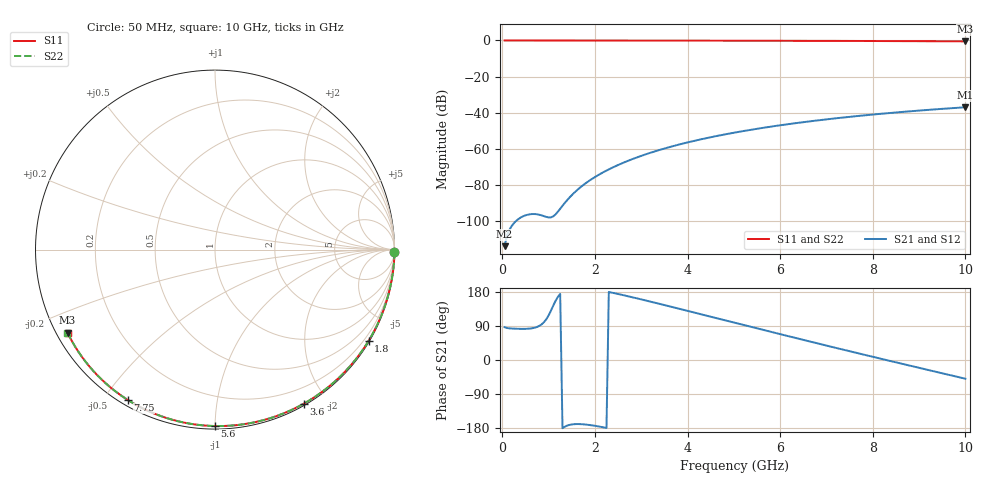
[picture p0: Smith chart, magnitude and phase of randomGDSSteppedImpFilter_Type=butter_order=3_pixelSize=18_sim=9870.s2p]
! freq	dB(S11)	phase(S11)	dB(S12)	phase(S12)
!  dB(S21)	phase(S21)	dB(S22)	phase(S22)
!S-par simulation data
#  GHz  S  DB  R 50
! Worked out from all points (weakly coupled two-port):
!   200 points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, 50 MHz to 10 GHz, reference 50 ohm
!   highest |S21| = -37.06 dB at 10 GHz (marker M1); lowest = -114.1 dB at 50 MHz (marker M2)
!   lowest |S11| = -0.5 dB at 10 GHz (marker M3), VSWR 34.22, Z = 1.56 - j13.1 ohm
!   |S11| at or under -10 dB: nowhere
!   |S22| runs from -0.5 to 0.0 dB; largest |S21 - S12| = 0
!   S11 on the Smith chart (normalised r, x): 50 MHz: open; 1.8 GHz: 0.03, -3.63; 3.6 GHz: 0.02, -1.73; 5.6 GHz: 0.02, -1.00; 7.75 GHz: 0.02, -0.58; 10 GHz: 0.03, -0.26
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0.05  -0.00 -0.9  -114.10 86.6  -114.10 86.6  -0.00 -0.9
0.45  -0.01 -7.8  -97.51 82.1  -97.51 82.1  -0.01 -7.8
0.9  -0.02 -15.6  -97.45 99.8  -97.45 99.8  -0.02 -15.6
1.3  -0.03 -22.4  -91.70 -180.0  -91.70 -180.0  -0.03 -22.4
1.75  -0.04 -29.9  -80.16 -169.7  -80.16 -169.7  -0.04 -30.0
1.8  -0.04 -30.8  -79.20 -170.3  -79.20 -170.3  -0.04 -30.8
1.95  -0.04 -33.3  -76.57 -172.7  -76.57 -172.7  -0.04 -33.3
2.1  -0.05 -35.8  -74.25 -175.7  -74.25 -175.7  -0.05 -35.8
2.3  -0.05 -39.1  -71.51 179.5  -71.51 179.5  -0.05 -39.1
2.5  -0.05 -42.4  -69.08 174.2  -69.08 174.2  -0.05 -42.4
2.9  -0.06 -48.9  -64.93 162.9  -64.93 162.9  -0.06 -48.9
3.4  -0.08 -56.9  -60.70 148.0  -60.70 148.0  -0.08 -56.9
3.6  -0.08 -60.0  -59.22 141.9  -59.22 141.9  -0.08 -60.1
4.3  -0.10 -70.9  -54.78 120.4  -54.78 120.4  -0.10 -70.9
5.05  -0.13 -82.1  -50.95 97.3  -50.95 97.3  -0.13 -82.2
5.6  -0.15 -90.2  -48.58 80.4  -48.58 80.4  -0.15 -90.2
6.15  -0.18 -98.0  -46.51 63.7  -46.51 63.7  -0.18 -98.1
6.7  -0.21 -105.7  -44.68 47.0  -44.68 47.0  -0.21 -105.8
7.75  -0.28 -120.2  -41.71 15.8  -41.71 15.8  -0.28 -120.2
8.35  -0.33 -128.3  -40.27 -1.8  -40.27 -1.8  -0.33 -128.3
9.2  -0.41 -139.7  -38.49 -26.4  -38.49 -26.4  -0.41 -139.8
10  -0.51 -150.6  -37.06 -49.4  -37.06 -49.4  -0.51 -150.7
